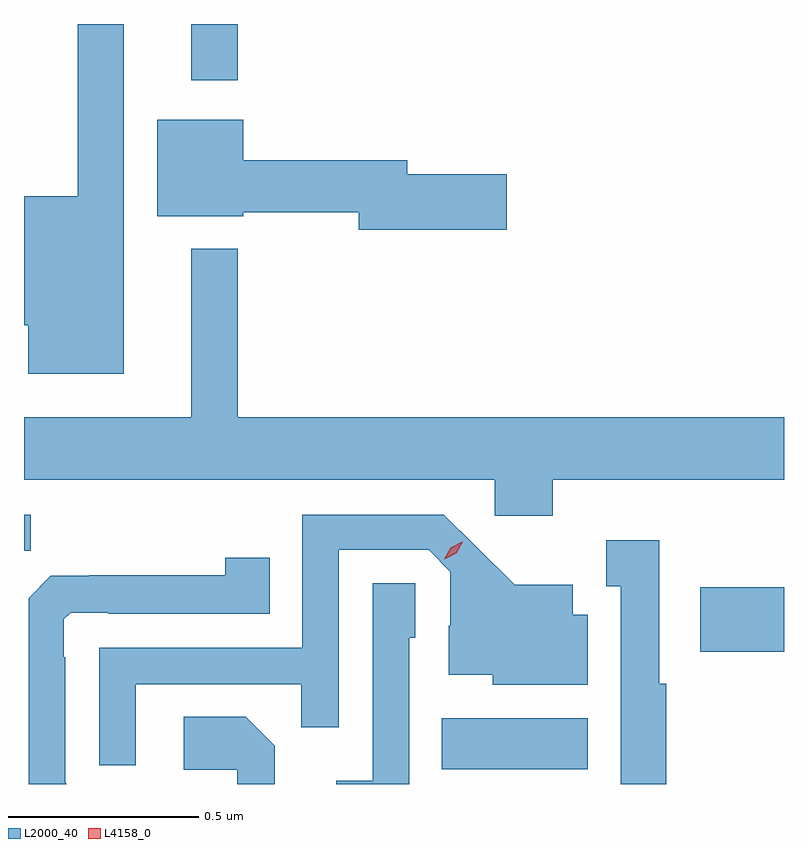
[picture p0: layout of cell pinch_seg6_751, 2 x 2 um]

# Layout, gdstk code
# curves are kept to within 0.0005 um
import gdstk
lib = gdstk.Library(unit=1e-6, precision=1e-09)
def R(c, l, rs):  # rectangles x0, y0, x1, y1
    for r in rs: c.add(gdstk.rectangle(r[:2], r[2:], *l))
def P(c, l, *ps):  # polygons
    for p in ps: c.add(gdstk.Polygon(p, *l))
L2000_40 = (2000, 40)
L4158_0 = (4158, 0)

pinch_seg6_751 = lib.new_cell('pinch_seg6_751')
R(pinch_seg6_751, L2000_40, [(598.24,947.906,598.624,948.04), (598.92,948.215,599.141,948.385), (597.141,948.481,597.159,948.576), (597.581,949.719,597.703,949.867)])
P(pinch_seg6_751, L2000_40, [(597.403,949.867),(597.282,949.867),(597.282,949.414),(597.141,949.414),(597.141,949.074),(597.152,949.074),(597.152,948.947),(597.403,948.947)],
  [(598.411,949.472),(598.15,949.472),(598.15,949.508),(597.718,949.508),(597.718,949.615),(597.491,949.615),(597.491,949.361),(597.718,949.361),(597.718,949.372),(598.022,949.372),(598.022,949.325),(598.411,949.325)],
  [(598.532,948.668),(599.141,948.668),(599.141,948.832),(597.703,948.832),(597.703,949.276),(597.581,949.276),(597.581,948.832),(597.141,948.832),(597.141,948.668),(598.38,948.668),(598.38,948.573),(598.532,948.573)],
  [(597.435,948.129),(597.871,948.129),(597.871,948.016),(597.969,948.016),(597.969,948.483),(598.206,948.483),(598.263,948.426),(598.263,948.284),(598.259,948.284),(598.259,948.155),(598.374,948.155),(598.374,948.128),(598.624,948.128),(598.624,948.312),(598.585,948.312),(598.585,948.391),(598.433,948.391),(598.246,948.576),(597.873,948.576),(597.873,948.225),(597.339,948.225),(597.339,947.916),(597.435,947.916)],
  [(598.831,948.131),(598.813,948.131),(598.813,948.508),(598.673,948.508),(598.673,948.387),(598.712,948.387),(598.712,947.867),(598.831,947.867)],
  [(597.249,947.871),(597.249,948.2),(597.246,948.2),(597.246,948.3),(597.264,948.318),(597.364,948.318),(597.364,948.315),(597.788,948.315),(597.788,948.463),(597.67,948.463),(597.67,948.416),(597.313,948.416),(597.313,948.415),(597.212,948.415),(597.153,948.356),(597.153,947.867),(597.253,947.867)],
  [(598.155,948.252),(598.17,948.252),(598.17,948.395),(598.059,948.395),(598.059,947.875),(597.963,947.875),(597.963,947.867),(598.155,947.867)],
  [(597.801,947.968),(597.725,948.044),(597.561,948.044),(597.561,947.904),(597.702,947.904),(597.702,947.867),(597.801,947.867)])
P(pinch_seg6_751, L4158_0, [(598.247,948.459),(598.247,948.459),(598.264,948.489),(598.294,948.504),(598.295,948.504),(598.295,948.504),(598.278,948.474),(598.247,948.459)])

lib.write_gds('pinch_seg6_751.gds')
